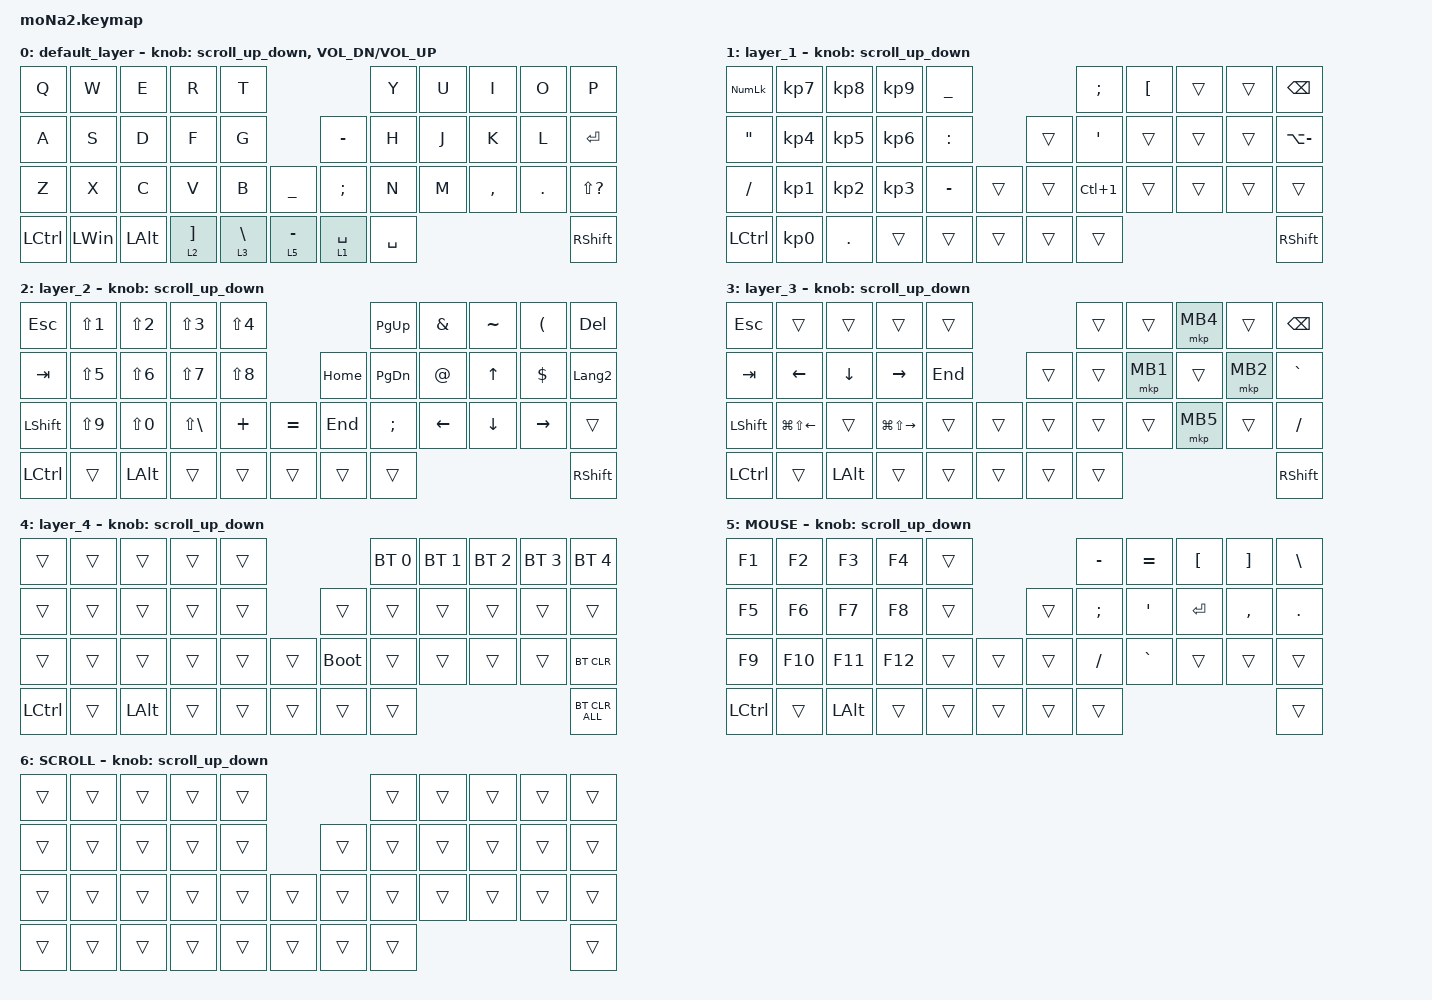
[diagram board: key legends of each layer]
#include <behaviors.dtsi>
#include <dt-bindings/zmk/bt.h>
#include <dt-bindings/zmk/keys.h>
#include <dt-bindings/zmk/pointing.h>

#define ZMK_POINTING_DEFAULT_SCRL_VAL 100
#define MOUSE 5
#define SCROLL 6

&mt {
    flavor = "balanced";
    quick-tap-ms = <0>;
};

/ {
    combos { compatible = "zmk,combos"; };

    macros {
        to_layer_0: to_layer_0 {
            compatible = "zmk,behavior-macro-one-param";
            #binding-cells = <1>;
            bindings = <&to 0 &macro_param_1to1 &kp MACRO_PLACEHOLDER>;
            label = "TO_LAYER_0";
        };
    };

    behaviors {
        lt_to_layer_0: lt_to_layer_0 {
            compatible = "zmk,behavior-hold-tap";
            label = "LAYER_TAP_TO_0";
            bindings = <&mo>, <&to_layer_0>;

            #binding-cells = <2>;
            tapping-term-ms = <200>;
        };

        scroll_up_down: behavior_sensor_rotate_mouse_wheel_up_down {
            compatible = "zmk,behavior-sensor-rotate";
            #sensor-binding-cells = <0>;
            bindings = <&msc SCRL_UP>, <&msc SCRL_DOWN>;

            tap-ms = <20>;
        };
    };

    keymap {
        compatible = "zmk,keymap";

        default_layer {
            bindings = <
&kp Q      &kp W         &kp E         &kp R                &kp T                                          &kp Y      &kp U  &kp I      &kp O    &kp P
&kp A      &kp S         &kp D         &kp F                &kp G                           &kp MINUS      &kp H      &kp J  &kp K      &kp L    &kp ENTER
&kp Z      &kp X         &kp C         &kp V                &kp B            &kp UNDER      &kp SEMICOLON  &kp N      &kp M  &kp COMMA  &kp DOT  &kp LS(QUESTION)
&kp LCTRL  &kp LEFT_WIN  &kp LEFT_ALT  &lt 2 RIGHT_BRACKET  &lt 3 BACKSLASH  &lt 5 MINUS    &lt 1 SPACE    &kp SPACE                             &kp RSHFT
            >;

            sensor-bindings =
                <&scroll_up_down>,
                <&inc_dec_kp C_VOL_DN C_VOL_UP>;
        };

        layer_1 {
            bindings = <
&kp KP_NUMLOCK  &kp KP_NUMBER_7  &kp KP_NUMBER_8  &kp KP_N9        &kp UNDER                    &kp SEMICOLON     &kp LEFT_BRACKET  &trans  &trans  &kp BSPC
&kp DQT         &kp KP_N4        &kp KP_N5        &kp KP_NUMBER_6  &kp COLON            &trans  &kp SQT           &trans            &trans  &trans  &kp LA(MINUS)
&kp FSLH        &kp KP_N1        &kp KP_NUMBER_2  &kp KP_N3        &kp MINUS  &trans    &trans  &kp LC(NUMBER_1)  &trans            &trans  &trans  &trans
&kp LCTRL       &kp KP_N0        &kp DOT          &trans           &trans     &trans    &trans  &trans                                              &kp RSHFT
            >;

            sensor-bindings = <&scroll_up_down>;
        };

        layer_2 {
            bindings = <
&kp ESC           &kp LS(N1)  &kp LS(N2)  &kp LS(N3)         &kp LS(N4)                         &kp PAGE_UP    &kp AMPERSAND  &kp TILDE     &kp LEFT_PARENTHESIS  &kp DEL
&kp TAB           &kp LS(N5)  &kp LS(N6)  &kp LS(N7)         &kp LS(N8)               &kp HOME  &kp PAGE_DOWN  &kp AT_SIGN    &kp UP_ARROW  &kp DOLLAR            &kp LANGUAGE_2
&kp LEFT_SHIFT    &kp LS(N9)  &kp LS(N0)  &kp LS(BACKSLASH)  &kp PLUS    &kp EQUAL    &kp END   &kp SEMICOLON  &kp LEFT       &kp DOWN      &kp RIGHT             &trans
&kp LEFT_CONTROL  &trans      &kp LALT    &trans             &trans      &trans       &trans    &trans                                                            &kp RIGHT_SHIFT
            >;

            sensor-bindings = <&scroll_up_down>;
        };

        layer_3 {
            bindings = <
&kp ESCAPE        &trans                  &trans          &trans                   &trans                     &trans  &trans    &mkp MB4  &trans    &kp BACKSPACE
&kp TAB           &kp LEFT_ARROW          &kp DOWN_ARROW  &kp RIGHT_ARROW          &kp END            &trans  &trans  &mkp MB1  &trans    &mkp MB2  &kp GRAVE
&kp LEFT_SHIFT    &kp LG(LS(LEFT_ARROW))  &trans          &kp LG(LS(RIGHT_ARROW))  &trans   &trans    &trans  &trans  &trans    &mkp MB5  &trans    &kp FSLH
&kp LEFT_CONTROL  &trans                  &kp LEFT_ALT    &trans                   &trans   &trans    &trans  &trans                                &kp RIGHT_SHIFT
            >;

            sensor-bindings = <&scroll_up_down>;
        };

        layer_4 {
            bindings = <
&trans            &trans  &trans        &trans  &trans                         &bt BT_SEL 0  &bt BT_SEL 1  &bt BT_SEL 2  &bt BT_SEL 3  &bt BT_SEL 4
&trans            &trans  &trans        &trans  &trans            &trans       &trans        &trans        &trans        &trans        &trans
&trans            &trans  &trans        &trans  &trans  &trans    &bootloader  &trans        &trans        &trans        &trans        &bt BT_CLR
&kp LEFT_CONTROL  &trans  &kp LEFT_ALT  &trans  &trans  &trans    &trans       &trans                                                  &bt BT_CLR_ALL
            >;

            sensor-bindings = <&scroll_up_down>;
        };

        MOUSE {
            bindings = <
&kp F1     &kp F2   &kp F3    &kp F4   &trans                    &kp MINUS  &kp EQUAL  &kp LBKT   &kp RBKT   &kp BSLH
&kp F5     &kp F6   &kp F7    &kp F8   &trans            &trans  &kp SEMI   &kp APOS   &kp ENTER  &kp COMMA  &kp DOT
&kp F9     &kp F10  &kp F11   &kp F12  &trans  &trans    &trans  &kp FSLH   &kp GRAVE  &trans     &trans     &trans
&kp LCTRL  &trans   &kp LALT  &trans   &trans  &trans    &trans  &trans                                      &trans
            >;

            sensor-bindings = <&scroll_up_down>;
        };

        SCROLL {
            bindings = <
&trans  &trans  &trans  &trans  &trans                    &trans  &trans  &trans  &trans  &trans
&trans  &trans  &trans  &trans  &trans            &trans  &trans  &trans  &trans  &trans  &trans
&trans  &trans  &trans  &trans  &trans  &trans    &trans  &trans  &trans  &trans  &trans  &trans
&trans  &trans  &trans  &trans  &trans  &trans    &trans  &trans                          &trans
            >;

            sensor-bindings = <&scroll_up_down>;
        };
    };
};
